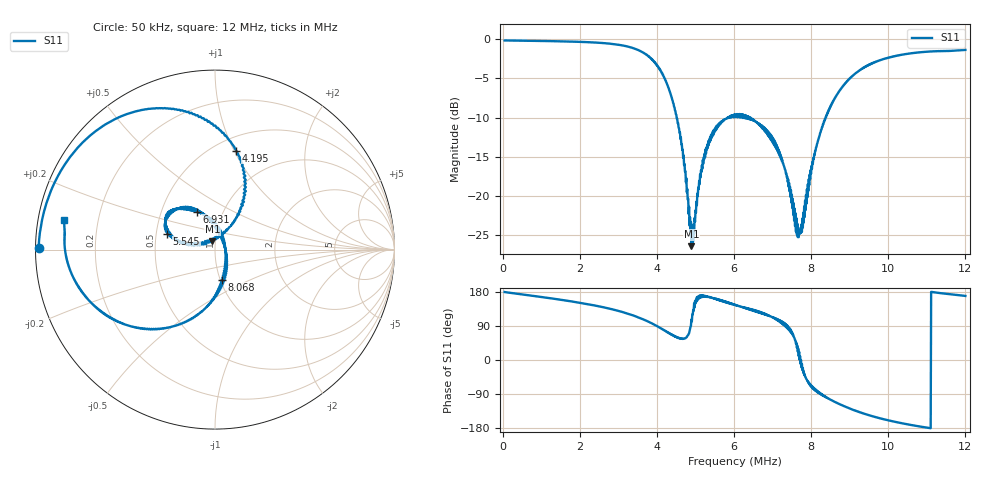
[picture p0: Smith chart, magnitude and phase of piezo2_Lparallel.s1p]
# Hz S RI R 50
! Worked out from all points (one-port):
!   1010 points, 50 kHz to 12 MHz, reference 50 ohm
!   lowest |S11| = -26.4 dB at 4.894 MHz (marker M1), VSWR 1.10, Z = 48.4 + j4.46 ohm
!   |S11| at or under -10 dB: 4.512 MHz to 5.835 MHz (1.323 MHz wide, 25.6 % of centre); 5.848671 MHz to 5.855866 MHz (7.195 kHz wide, 0.123 % of centre); 6.412 MHz to 8.372 MHz (1.96 MHz wide, 26.5 % of centre)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
!   S11 on the Smith chart (normalised r, x): 50 kHz: 0.01, +0.01; 4.195 MHz: 0.63, +1.02; 5.545 MHz: 0.57, +0.11; 6.931 MHz: 0.75, +0.33; 8.068 MHz: 1.02, -0.35; 12 MHz: 0.08, +0.10
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50000  -0.9817 0.0101
1554043  -0.9 0.3596
2394843  -0.7681 0.5642
3046186  -0.5698 0.7204
3721329  -0.1926 0.7741
3958129  -0.0218 0.7019
4195029  0.1185 0.5511
4538429  0.1463 0.2522
4680529  0.0974 0.1464
4858172  0.0089 0.0729
4893772  -0.014 0.046
4952972  -0.0427 0.0509
5106872  -0.1177 0.0201
5225372  -0.1694 0.0311
5545072  -0.2665 0.0882
6030715  -0.2717 0.191
6492515  -0.1954 0.2318
6930715  -0.103 0.2104
7262358  -0.0121 0.1625
7522858  0.0398 0.0875
7641358  0.0526 0.0413
7724258  0.0597 -0.0107
8067658  0.0369 -0.1683
8458501  -0.0738 -0.3435
9015101  -0.3538 -0.4413
9725644  -0.6426 -0.3402
1.050734e7  -0.7962 -0.1412
1.199959e7  -0.8394 0.1623
